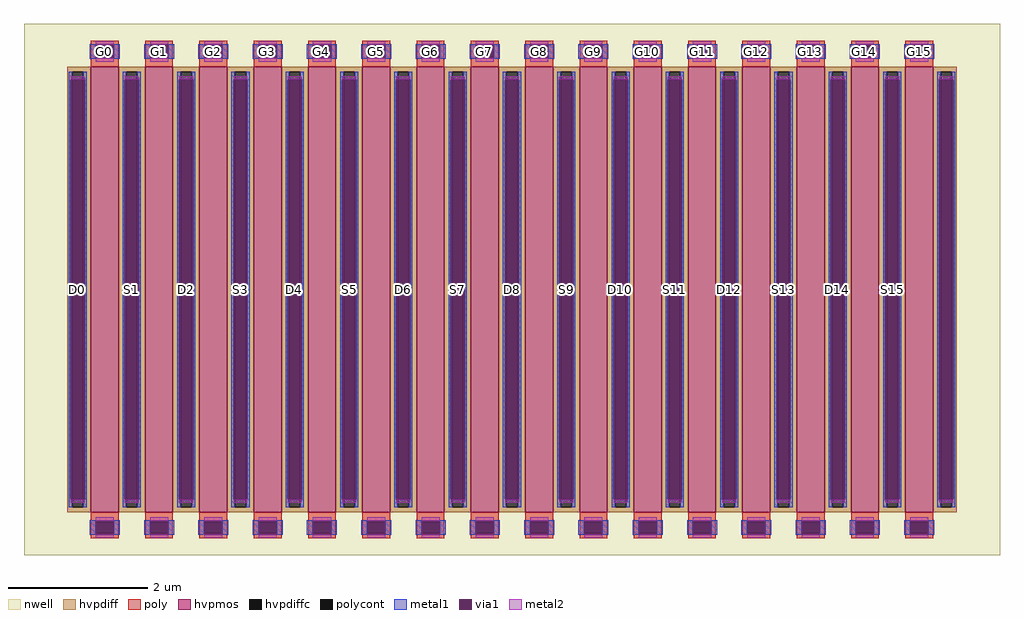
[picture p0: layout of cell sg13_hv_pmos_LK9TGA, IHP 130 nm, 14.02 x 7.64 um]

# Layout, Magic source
magic
tech ihp-sg13cmos5l
magscale 1 2
<< nwell >>
rect -1402 -764 1402 764
<< hvpmos >>
rect -1210 -640 -1130 640
rect -1054 -640 -974 640
rect -898 -640 -818 640
rect -742 -640 -662 640
rect -586 -640 -506 640
rect -430 -640 -350 640
rect -274 -640 -194 640
rect -118 -640 -38 640
rect 38 -640 118 640
rect 194 -640 274 640
rect 350 -640 430 640
rect 506 -640 586 640
rect 662 -640 742 640
rect 818 -640 898 640
rect 974 -640 1054 640
rect 1130 -640 1210 640
<< hvpdiff >>
rect -1278 626 -1210 640
rect -1278 -626 -1264 626
rect -1232 -626 -1210 626
rect -1278 -640 -1210 -626
rect -1130 626 -1054 640
rect -1130 -626 -1108 626
rect -1076 -626 -1054 626
rect -1130 -640 -1054 -626
rect -974 626 -898 640
rect -974 -626 -952 626
rect -920 -626 -898 626
rect -974 -640 -898 -626
rect -818 626 -742 640
rect -818 -626 -796 626
rect -764 -626 -742 626
rect -818 -640 -742 -626
rect -662 626 -586 640
rect -662 -626 -640 626
rect -608 -626 -586 626
rect -662 -640 -586 -626
rect -506 626 -430 640
rect -506 -626 -484 626
rect -452 -626 -430 626
rect -506 -640 -430 -626
rect -350 626 -274 640
rect -350 -626 -328 626
rect -296 -626 -274 626
rect -350 -640 -274 -626
rect -194 626 -118 640
rect -194 -626 -172 626
rect -140 -626 -118 626
rect -194 -640 -118 -626
rect -38 626 38 640
rect -38 -626 -16 626
rect 16 -626 38 626
rect -38 -640 38 -626
rect 118 626 194 640
rect 118 -626 140 626
rect 172 -626 194 626
rect 118 -640 194 -626
rect 274 626 350 640
rect 274 -626 296 626
rect 328 -626 350 626
rect 274 -640 350 -626
rect 430 626 506 640
rect 430 -626 452 626
rect 484 -626 506 626
rect 430 -640 506 -626
rect 586 626 662 640
rect 586 -626 608 626
rect 640 -626 662 626
rect 586 -640 662 -626
rect 742 626 818 640
rect 742 -626 764 626
rect 796 -626 818 626
rect 742 -640 818 -626
rect 898 626 974 640
rect 898 -626 920 626
rect 952 -626 974 626
rect 898 -640 974 -626
rect 1054 626 1130 640
rect 1054 -626 1076 626
rect 1108 -626 1130 626
rect 1054 -640 1130 -626
rect 1210 626 1278 640
rect 1210 -626 1232 626
rect 1264 -626 1278 626
rect 1210 -640 1278 -626
<< hvpdiffc >>
rect -1264 -626 -1232 626
rect -1108 -626 -1076 626
rect -952 -626 -920 626
rect -796 -626 -764 626
rect -640 -626 -608 626
rect -484 -626 -452 626
rect -328 -626 -296 626
rect -172 -626 -140 626
rect -16 -626 16 626
rect 140 -626 172 626
rect 296 -626 328 626
rect 452 -626 484 626
rect 608 -626 640 626
rect 764 -626 796 626
rect 920 -626 952 626
rect 1076 -626 1108 626
rect 1232 -626 1264 626
<< poly >>
rect -1210 700 -1130 714
rect -1210 668 -1196 700
rect -1144 668 -1130 700
rect -1210 640 -1130 668
rect -1054 700 -974 714
rect -1054 668 -1040 700
rect -988 668 -974 700
rect -1054 640 -974 668
rect -898 700 -818 714
rect -898 668 -884 700
rect -832 668 -818 700
rect -898 640 -818 668
rect -742 700 -662 714
rect -742 668 -728 700
rect -676 668 -662 700
rect -742 640 -662 668
rect -586 700 -506 714
rect -586 668 -572 700
rect -520 668 -506 700
rect -586 640 -506 668
rect -430 700 -350 714
rect -430 668 -416 700
rect -364 668 -350 700
rect -430 640 -350 668
rect -274 700 -194 714
rect -274 668 -260 700
rect -208 668 -194 700
rect -274 640 -194 668
rect -118 700 -38 714
rect -118 668 -104 700
rect -52 668 -38 700
rect -118 640 -38 668
rect 38 700 118 714
rect 38 668 52 700
rect 104 668 118 700
rect 38 640 118 668
rect 194 700 274 714
rect 194 668 208 700
rect 260 668 274 700
rect 194 640 274 668
rect 350 700 430 714
rect 350 668 364 700
rect 416 668 430 700
rect 350 640 430 668
rect 506 700 586 714
rect 506 668 520 700
rect 572 668 586 700
rect 506 640 586 668
rect 662 700 742 714
rect 662 668 676 700
rect 728 668 742 700
rect 662 640 742 668
rect 818 700 898 714
rect 818 668 832 700
rect 884 668 898 700
rect 818 640 898 668
rect 974 700 1054 714
rect 974 668 988 700
rect 1040 668 1054 700
rect 974 640 1054 668
rect 1130 700 1210 714
rect 1130 668 1144 700
rect 1196 668 1210 700
rect 1130 640 1210 668
rect -1210 -668 -1130 -640
rect -1210 -700 -1196 -668
rect -1144 -700 -1130 -668
rect -1210 -714 -1130 -700
rect -1054 -668 -974 -640
rect -1054 -700 -1040 -668
rect -988 -700 -974 -668
rect -1054 -714 -974 -700
rect -898 -668 -818 -640
rect -898 -700 -884 -668
rect -832 -700 -818 -668
rect -898 -714 -818 -700
rect -742 -668 -662 -640
rect -742 -700 -728 -668
rect -676 -700 -662 -668
rect -742 -714 -662 -700
rect -586 -668 -506 -640
rect -586 -700 -572 -668
rect -520 -700 -506 -668
rect -586 -714 -506 -700
rect -430 -668 -350 -640
rect -430 -700 -416 -668
rect -364 -700 -350 -668
rect -430 -714 -350 -700
rect -274 -668 -194 -640
rect -274 -700 -260 -668
rect -208 -700 -194 -668
rect -274 -714 -194 -700
rect -118 -668 -38 -640
rect -118 -700 -104 -668
rect -52 -700 -38 -668
rect -118 -714 -38 -700
rect 38 -668 118 -640
rect 38 -700 52 -668
rect 104 -700 118 -668
rect 38 -714 118 -700
rect 194 -668 274 -640
rect 194 -700 208 -668
rect 260 -700 274 -668
rect 194 -714 274 -700
rect 350 -668 430 -640
rect 350 -700 364 -668
rect 416 -700 430 -668
rect 350 -714 430 -700
rect 506 -668 586 -640
rect 506 -700 520 -668
rect 572 -700 586 -668
rect 506 -714 586 -700
rect 662 -668 742 -640
rect 662 -700 676 -668
rect 728 -700 742 -668
rect 662 -714 742 -700
rect 818 -668 898 -640
rect 818 -700 832 -668
rect 884 -700 898 -668
rect 818 -714 898 -700
rect 974 -668 1054 -640
rect 974 -700 988 -668
rect 1040 -700 1054 -668
rect 974 -714 1054 -700
rect 1130 -668 1210 -640
rect 1130 -700 1144 -668
rect 1196 -700 1210 -668
rect 1130 -714 1210 -700
<< polycont >>
rect -1196 668 -1144 700
rect -1040 668 -988 700
rect -884 668 -832 700
rect -728 668 -676 700
rect -572 668 -520 700
rect -416 668 -364 700
rect -260 668 -208 700
rect -104 668 -52 700
rect 52 668 104 700
rect 208 668 260 700
rect 364 668 416 700
rect 520 668 572 700
rect 676 668 728 700
rect 832 668 884 700
rect 988 668 1040 700
rect 1144 668 1196 700
rect -1196 -700 -1144 -668
rect -1040 -700 -988 -668
rect -884 -700 -832 -668
rect -728 -700 -676 -668
rect -572 -700 -520 -668
rect -416 -700 -364 -668
rect -260 -700 -208 -668
rect -104 -700 -52 -668
rect 52 -700 104 -668
rect 208 -700 260 -668
rect 364 -700 416 -668
rect 520 -700 572 -668
rect 676 -700 728 -668
rect 832 -700 884 -668
rect 988 -700 1040 -668
rect 1144 -700 1196 -668
<< metal1 >>
rect -1213 704 -1127 705
rect -1213 664 -1196 704
rect -1144 664 -1127 704
rect -1213 663 -1127 664
rect -1057 704 -971 705
rect -1057 664 -1040 704
rect -988 664 -971 704
rect -1057 663 -971 664
rect -901 704 -815 705
rect -901 664 -884 704
rect -832 664 -815 704
rect -901 663 -815 664
rect -745 704 -659 705
rect -745 664 -728 704
rect -676 664 -659 704
rect -745 663 -659 664
rect -589 704 -503 705
rect -589 664 -572 704
rect -520 664 -503 704
rect -589 663 -503 664
rect -433 704 -347 705
rect -433 664 -416 704
rect -364 664 -347 704
rect -433 663 -347 664
rect -277 704 -191 705
rect -277 664 -260 704
rect -208 664 -191 704
rect -277 663 -191 664
rect -121 704 -35 705
rect -121 664 -104 704
rect -52 664 -35 704
rect -121 663 -35 664
rect 35 704 121 705
rect 35 664 52 704
rect 104 664 121 704
rect 35 663 121 664
rect 191 704 277 705
rect 191 664 208 704
rect 260 664 277 704
rect 191 663 277 664
rect 347 704 433 705
rect 347 664 364 704
rect 416 664 433 704
rect 347 663 433 664
rect 503 704 589 705
rect 503 664 520 704
rect 572 664 589 704
rect 503 663 589 664
rect 659 704 745 705
rect 659 664 676 704
rect 728 664 745 704
rect 659 663 745 664
rect 815 704 901 705
rect 815 664 832 704
rect 884 664 901 704
rect 815 663 901 664
rect 971 704 1057 705
rect 971 664 988 704
rect 1040 664 1057 704
rect 971 663 1057 664
rect 1127 704 1213 705
rect 1127 664 1144 704
rect 1196 664 1213 704
rect 1127 663 1213 664
rect -1274 604 -1264 626
rect -1232 604 -1222 626
rect -1274 -604 -1268 604
rect -1228 -604 -1222 604
rect -1274 -626 -1264 -604
rect -1232 -626 -1222 -604
rect -1118 604 -1108 626
rect -1076 604 -1066 626
rect -1118 -604 -1112 604
rect -1072 -604 -1066 604
rect -1118 -626 -1108 -604
rect -1076 -626 -1066 -604
rect -962 604 -952 626
rect -920 604 -910 626
rect -962 -604 -956 604
rect -916 -604 -910 604
rect -962 -626 -952 -604
rect -920 -626 -910 -604
rect -806 604 -796 626
rect -764 604 -754 626
rect -806 -604 -800 604
rect -760 -604 -754 604
rect -806 -626 -796 -604
rect -764 -626 -754 -604
rect -650 604 -640 626
rect -608 604 -598 626
rect -650 -604 -644 604
rect -604 -604 -598 604
rect -650 -626 -640 -604
rect -608 -626 -598 -604
rect -494 604 -484 626
rect -452 604 -442 626
rect -494 -604 -488 604
rect -448 -604 -442 604
rect -494 -626 -484 -604
rect -452 -626 -442 -604
rect -338 604 -328 626
rect -296 604 -286 626
rect -338 -604 -332 604
rect -292 -604 -286 604
rect -338 -626 -328 -604
rect -296 -626 -286 -604
rect -182 604 -172 626
rect -140 604 -130 626
rect -182 -604 -176 604
rect -136 -604 -130 604
rect -182 -626 -172 -604
rect -140 -626 -130 -604
rect -26 604 -16 626
rect 16 604 26 626
rect -26 -604 -20 604
rect 20 -604 26 604
rect -26 -626 -16 -604
rect 16 -626 26 -604
rect 130 604 140 626
rect 172 604 182 626
rect 130 -604 136 604
rect 176 -604 182 604
rect 130 -626 140 -604
rect 172 -626 182 -604
rect 286 604 296 626
rect 328 604 338 626
rect 286 -604 292 604
rect 332 -604 338 604
rect 286 -626 296 -604
rect 328 -626 338 -604
rect 442 604 452 626
rect 484 604 494 626
rect 442 -604 448 604
rect 488 -604 494 604
rect 442 -626 452 -604
rect 484 -626 494 -604
rect 598 604 608 626
rect 640 604 650 626
rect 598 -604 604 604
rect 644 -604 650 604
rect 598 -626 608 -604
rect 640 -626 650 -604
rect 754 604 764 626
rect 796 604 806 626
rect 754 -604 760 604
rect 800 -604 806 604
rect 754 -626 764 -604
rect 796 -626 806 -604
rect 910 604 920 626
rect 952 604 962 626
rect 910 -604 916 604
rect 956 -604 962 604
rect 910 -626 920 -604
rect 952 -626 962 -604
rect 1066 604 1076 626
rect 1108 604 1118 626
rect 1066 -604 1072 604
rect 1112 -604 1118 604
rect 1066 -626 1076 -604
rect 1108 -626 1118 -604
rect 1222 604 1232 626
rect 1264 604 1274 626
rect 1222 -604 1228 604
rect 1268 -604 1274 604
rect 1222 -626 1232 -604
rect 1264 -626 1274 -604
rect -1213 -664 -1127 -663
rect -1213 -704 -1196 -664
rect -1144 -704 -1127 -664
rect -1213 -705 -1127 -704
rect -1057 -664 -971 -663
rect -1057 -704 -1040 -664
rect -988 -704 -971 -664
rect -1057 -705 -971 -704
rect -901 -664 -815 -663
rect -901 -704 -884 -664
rect -832 -704 -815 -664
rect -901 -705 -815 -704
rect -745 -664 -659 -663
rect -745 -704 -728 -664
rect -676 -704 -659 -664
rect -745 -705 -659 -704
rect -589 -664 -503 -663
rect -589 -704 -572 -664
rect -520 -704 -503 -664
rect -589 -705 -503 -704
rect -433 -664 -347 -663
rect -433 -704 -416 -664
rect -364 -704 -347 -664
rect -433 -705 -347 -704
rect -277 -664 -191 -663
rect -277 -704 -260 -664
rect -208 -704 -191 -664
rect -277 -705 -191 -704
rect -121 -664 -35 -663
rect -121 -704 -104 -664
rect -52 -704 -35 -664
rect -121 -705 -35 -704
rect 35 -664 121 -663
rect 35 -704 52 -664
rect 104 -704 121 -664
rect 35 -705 121 -704
rect 191 -664 277 -663
rect 191 -704 208 -664
rect 260 -704 277 -664
rect 191 -705 277 -704
rect 347 -664 433 -663
rect 347 -704 364 -664
rect 416 -704 433 -664
rect 347 -705 433 -704
rect 503 -664 589 -663
rect 503 -704 520 -664
rect 572 -704 589 -664
rect 503 -705 589 -704
rect 659 -664 745 -663
rect 659 -704 676 -664
rect 728 -704 745 -664
rect 659 -705 745 -704
rect 815 -664 901 -663
rect 815 -704 832 -664
rect 884 -704 901 -664
rect 815 -705 901 -704
rect 971 -664 1057 -663
rect 971 -704 988 -664
rect 1040 -704 1057 -664
rect 971 -705 1057 -704
rect 1127 -664 1213 -663
rect 1127 -704 1144 -664
rect 1196 -704 1213 -664
rect 1127 -705 1213 -704
<< via1 >>
rect -1196 700 -1144 704
rect -1196 668 -1144 700
rect -1196 664 -1144 668
rect -1040 700 -988 704
rect -1040 668 -988 700
rect -1040 664 -988 668
rect -884 700 -832 704
rect -884 668 -832 700
rect -884 664 -832 668
rect -728 700 -676 704
rect -728 668 -676 700
rect -728 664 -676 668
rect -572 700 -520 704
rect -572 668 -520 700
rect -572 664 -520 668
rect -416 700 -364 704
rect -416 668 -364 700
rect -416 664 -364 668
rect -260 700 -208 704
rect -260 668 -208 700
rect -260 664 -208 668
rect -104 700 -52 704
rect -104 668 -52 700
rect -104 664 -52 668
rect 52 700 104 704
rect 52 668 104 700
rect 52 664 104 668
rect 208 700 260 704
rect 208 668 260 700
rect 208 664 260 668
rect 364 700 416 704
rect 364 668 416 700
rect 364 664 416 668
rect 520 700 572 704
rect 520 668 572 700
rect 520 664 572 668
rect 676 700 728 704
rect 676 668 728 700
rect 676 664 728 668
rect 832 700 884 704
rect 832 668 884 700
rect 832 664 884 668
rect 988 700 1040 704
rect 988 668 1040 700
rect 988 664 1040 668
rect 1144 700 1196 704
rect 1144 668 1196 700
rect 1144 664 1196 668
rect -1268 -604 -1264 604
rect -1264 -604 -1232 604
rect -1232 -604 -1228 604
rect -1112 -604 -1108 604
rect -1108 -604 -1076 604
rect -1076 -604 -1072 604
rect -956 -604 -952 604
rect -952 -604 -920 604
rect -920 -604 -916 604
rect -800 -604 -796 604
rect -796 -604 -764 604
rect -764 -604 -760 604
rect -644 -604 -640 604
rect -640 -604 -608 604
rect -608 -604 -604 604
rect -488 -604 -484 604
rect -484 -604 -452 604
rect -452 -604 -448 604
rect -332 -604 -328 604
rect -328 -604 -296 604
rect -296 -604 -292 604
rect -176 -604 -172 604
rect -172 -604 -140 604
rect -140 -604 -136 604
rect -20 -604 -16 604
rect -16 -604 16 604
rect 16 -604 20 604
rect 136 -604 140 604
rect 140 -604 172 604
rect 172 -604 176 604
rect 292 -604 296 604
rect 296 -604 328 604
rect 328 -604 332 604
rect 448 -604 452 604
rect 452 -604 484 604
rect 484 -604 488 604
rect 604 -604 608 604
rect 608 -604 640 604
rect 640 -604 644 604
rect 760 -604 764 604
rect 764 -604 796 604
rect 796 -604 800 604
rect 916 -604 920 604
rect 920 -604 952 604
rect 952 -604 956 604
rect 1072 -604 1076 604
rect 1076 -604 1108 604
rect 1108 -604 1112 604
rect 1228 -604 1232 604
rect 1232 -604 1264 604
rect 1264 -604 1268 604
rect -1196 -668 -1144 -664
rect -1196 -700 -1144 -668
rect -1196 -704 -1144 -700
rect -1040 -668 -988 -664
rect -1040 -700 -988 -668
rect -1040 -704 -988 -700
rect -884 -668 -832 -664
rect -884 -700 -832 -668
rect -884 -704 -832 -700
rect -728 -668 -676 -664
rect -728 -700 -676 -668
rect -728 -704 -676 -700
rect -572 -668 -520 -664
rect -572 -700 -520 -668
rect -572 -704 -520 -700
rect -416 -668 -364 -664
rect -416 -700 -364 -668
rect -416 -704 -364 -700
rect -260 -668 -208 -664
rect -260 -700 -208 -668
rect -260 -704 -208 -700
rect -104 -668 -52 -664
rect -104 -700 -52 -668
rect -104 -704 -52 -700
rect 52 -668 104 -664
rect 52 -700 104 -668
rect 52 -704 104 -700
rect 208 -668 260 -664
rect 208 -700 260 -668
rect 208 -704 260 -700
rect 364 -668 416 -664
rect 364 -700 416 -668
rect 364 -704 416 -700
rect 520 -668 572 -664
rect 520 -700 572 -668
rect 520 -704 572 -700
rect 676 -668 728 -664
rect 676 -700 728 -668
rect 676 -704 728 -700
rect 832 -668 884 -664
rect 832 -700 884 -668
rect 832 -704 884 -700
rect 988 -668 1040 -664
rect 988 -700 1040 -668
rect 988 -704 1040 -700
rect 1144 -668 1196 -664
rect 1144 -700 1196 -668
rect 1144 -704 1196 -700
<< metal2 >>
rect -1196 704 -1144 713
rect -1196 655 -1144 664
rect -1040 704 -988 713
rect -1040 655 -988 664
rect -884 704 -832 713
rect -884 655 -832 664
rect -728 704 -676 713
rect -728 655 -676 664
rect -572 704 -520 713
rect -572 655 -520 664
rect -416 704 -364 713
rect -416 655 -364 664
rect -260 704 -208 713
rect -260 655 -208 664
rect -104 704 -52 713
rect -104 655 -52 664
rect 52 704 104 713
rect 52 655 104 664
rect 208 704 260 713
rect 208 655 260 664
rect 364 704 416 713
rect 364 655 416 664
rect 520 704 572 713
rect 520 655 572 664
rect 676 704 728 713
rect 676 655 728 664
rect 832 704 884 713
rect 832 655 884 664
rect 988 704 1040 713
rect 988 655 1040 664
rect 1144 704 1196 713
rect 1144 655 1196 664
rect -1268 604 -1228 613
rect -1268 -613 -1228 -604
rect -1112 604 -1072 613
rect -1112 -613 -1072 -604
rect -956 604 -916 613
rect -956 -613 -916 -604
rect -800 604 -760 613
rect -800 -613 -760 -604
rect -644 604 -604 613
rect -644 -613 -604 -604
rect -488 604 -448 613
rect -488 -613 -448 -604
rect -332 604 -292 613
rect -332 -613 -292 -604
rect -176 604 -136 613
rect -176 -613 -136 -604
rect -20 604 20 613
rect -20 -613 20 -604
rect 136 604 176 613
rect 136 -613 176 -604
rect 292 604 332 613
rect 292 -613 332 -604
rect 448 604 488 613
rect 448 -613 488 -604
rect 604 604 644 613
rect 604 -613 644 -604
rect 760 604 800 613
rect 760 -613 800 -604
rect 916 604 956 613
rect 916 -613 956 -604
rect 1072 604 1112 613
rect 1072 -613 1112 -604
rect 1228 604 1268 613
rect 1228 -613 1268 -604
rect -1196 -664 -1144 -655
rect -1196 -713 -1144 -704
rect -1040 -664 -988 -655
rect -1040 -713 -988 -704
rect -884 -664 -832 -655
rect -884 -713 -832 -704
rect -728 -664 -676 -655
rect -728 -713 -676 -704
rect -572 -664 -520 -655
rect -572 -713 -520 -704
rect -416 -664 -364 -655
rect -416 -713 -364 -704
rect -260 -664 -208 -655
rect -260 -713 -208 -704
rect -104 -664 -52 -655
rect -104 -713 -52 -704
rect 52 -664 104 -655
rect 52 -713 104 -704
rect 208 -664 260 -655
rect 208 -713 260 -704
rect 364 -664 416 -655
rect 364 -713 416 -704
rect 520 -664 572 -655
rect 520 -713 572 -704
rect 676 -664 728 -655
rect 676 -713 728 -704
rect 832 -664 884 -655
rect 832 -713 884 -704
rect 988 -664 1040 -655
rect 988 -713 1040 -704
rect 1144 -664 1196 -655
rect 1144 -713 1196 -704
<< labels >>
rlabel hvpdiffc -1248 0 -1248 0 0 D0
port 65 nsew
rlabel polycont -1170 684 -1170 684 0 G0
port 66 nsew
rlabel hvpdiffc -1092 0 -1092 0 0 S1
port 67 nsew
rlabel polycont -1014 684 -1014 684 0 G1
port 68 nsew
rlabel hvpdiffc -936 0 -936 0 0 D2
port 69 nsew
rlabel polycont -858 684 -858 684 0 G2
port 70 nsew
rlabel hvpdiffc -780 0 -780 0 0 S3
port 71 nsew
rlabel polycont -702 684 -702 684 0 G3
port 72 nsew
rlabel hvpdiffc -624 0 -624 0 0 D4
port 73 nsew
rlabel polycont -546 684 -546 684 0 G4
port 74 nsew
rlabel hvpdiffc -468 0 -468 0 0 S5
port 75 nsew
rlabel polycont -390 684 -390 684 0 G5
port 76 nsew
rlabel hvpdiffc -312 0 -312 0 0 D6
port 77 nsew
rlabel polycont -234 684 -234 684 0 G6
port 78 nsew
rlabel hvpdiffc -156 0 -156 0 0 S7
port 79 nsew
rlabel polycont -78 684 -78 684 0 G7
port 80 nsew
rlabel hvpdiffc 0 0 0 0 0 D8
port 81 nsew
rlabel polycont 78 684 78 684 0 G8
port 82 nsew
rlabel hvpdiffc 156 0 156 0 0 S9
port 83 nsew
rlabel polycont 234 684 234 684 0 G9
port 84 nsew
rlabel hvpdiffc 312 0 312 0 0 D10
port 85 nsew
rlabel polycont 390 684 390 684 0 G10
port 86 nsew
rlabel hvpdiffc 468 0 468 0 0 S11
port 87 nsew
rlabel polycont 546 684 546 684 0 G11
port 88 nsew
rlabel hvpdiffc 624 0 624 0 0 D12
port 89 nsew
rlabel polycont 702 684 702 684 0 G12
port 90 nsew
rlabel hvpdiffc 780 0 780 0 0 S13
port 91 nsew
rlabel polycont 858 684 858 684 0 G13
port 92 nsew
rlabel hvpdiffc 936 0 936 0 0 D14
port 93 nsew
rlabel polycont 1014 684 1014 684 0 G14
port 94 nsew
rlabel hvpdiffc 1092 0 1092 0 0 S15
port 95 nsew
rlabel polycont 1170 684 1170 684 0 G15
port 96 nsew
<< properties >>
string gencell sg13_hv_pmos
string library sg13cmos5l
string parameters w 6.4 l 0.4 m 1 ng 16 diffcov 100 polycov 100 guard 0 glc 1 grc 1 gtc 1 gbc 1 tbcov 100 rlcov 100 topc 1 botc 1 poverlap 0 doverlap 1 lmin 0.4 wmin 0.15 class mosfet compatible {sg13_lv_pmos sg13_hv_pmos} full_metal 1 conn_gates 0 gate_ring 0 ccols 1 viasrc 100 viadrn 100 viagate 100 viagb 0 viagr 0 viagl 0 viagt 0 doports 1
<< end >>
